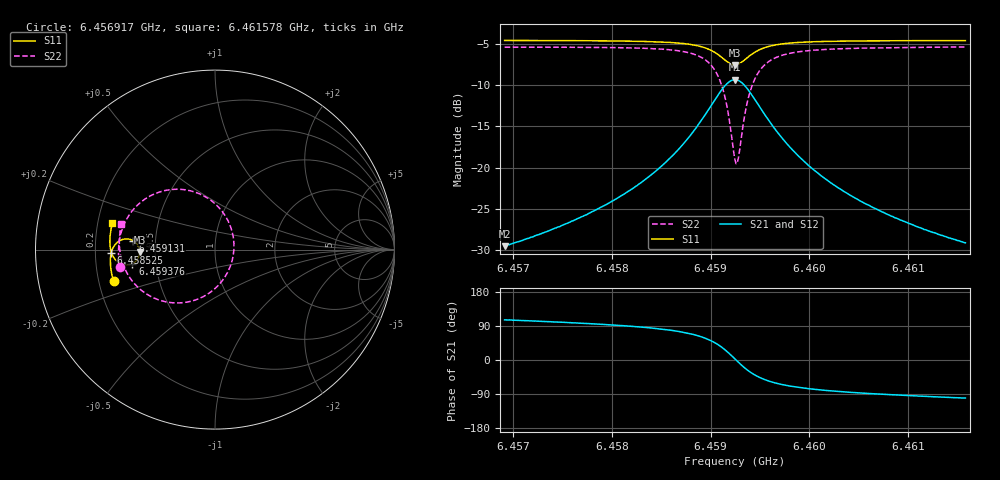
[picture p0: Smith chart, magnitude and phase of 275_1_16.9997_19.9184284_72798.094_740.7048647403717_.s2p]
#  HZ  S  RI  R  50.00
! Rohde & Schwarz Vector Network Analyzer
! Rohde-Schwarz,ZNB20-2Port,1311601062101988,3.16
! Created: UTC 3/20/2024, 11:04:20 PM
! freq[Hz]  re:S11  im:S11  re:S21  im:S21  re:S12  im:S12  re:S22  im:S22
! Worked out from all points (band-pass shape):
!   401 points, 6.456917 GHz to 6.461578 GHz, reference 50 ohm
!   highest |S21| = -9.32 dB at 6.459248 GHz (marker M1); lowest = -29.6 dB at 6.456917 GHz (marker M2)
!   |S21| within 3 dB of the highest: 6.459014 GHz to 6.45948 GHz (465.7 kHz wide, 0.00721 % of centre)
!   lowest |S11| = -7.5 dB at 6.459248 GHz (marker M3), VSWR 2.45, Z = 20.4 - j0.628 ohm
!   |S11| at or under -10 dB: nowhere
!   |S22| runs from -19.6 to -5.3 dB; largest |S21 - S12| = 0.013
!   S11 on the Smith chart (normalised r, x): 6.456917 GHz: 0.26, -0.14; 6.458525 GHz: 0.27, -0.02; 6.459131 GHz: 0.37, +0.05; 6.459376 GHz: 0.37, -0.07; 6.461578 GHz: 0.26, +0.12
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6.4569173e9  -0.5649 -0.1774  -0.00912 0.032  -0.00752 0.0321  -0.5309 -0.0944
6.4576979e9  -0.5798 -0.1094  -0.00605 0.0499  -0.00353 0.0493  -0.5377 -0.00369
6.458129e9  -0.5831 -0.0666  -0.000397 0.0692  0.00301 0.0679  -0.5306 0.0639
6.4584786e9  -0.5798 -0.0251  0.0131 0.0979  0.0171 0.0953  -0.5062 0.142
6.4585252e9  -0.5783 -0.0188  0.0165 0.1034  0.0205 0.1004  -0.5 0.1552
6.4587349e9  -0.5664 0.0131  0.0422 0.135  0.0464 0.1303  -0.452 0.2269
6.4588864e9  -0.5454 0.0395  0.0844 0.1653  0.0878 0.1588  -0.3742 0.2914
6.4590378e9  -0.4995 0.0594  0.1756 0.1845  0.1768 0.1773  -0.2076 0.3363
6.459131e9  -0.4554 0.0495  0.2649 0.1542  0.2653 0.1481  -0.042 0.2873
6.4591776e9  -0.4344 0.0309  0.3083 0.1116  0.3097 0.1063  0.0405 0.2121
6.4592476e9  -0.4198 -0.0127  0.3416 0.0158  0.3453 0.00896  0.1056 0.0342
6.4592592e9  -0.42 -0.0207  0.3415 -0.00178  0.3453 -0.0093  0.1053 0.000848
6.4592825e9  -0.4236 -0.036  0.3363 -0.0362  0.34 -0.0452  0.0947 -0.0643
6.4593291e9  -0.4389 -0.0618  0.308 -0.0954  0.3103 -0.1072  0.0382 -0.1763
6.4593757e9  -0.4606 -0.0779  0.2668 -0.1362  0.266 -0.1494  -0.0456 -0.2509
6.4594689e9  -0.5036 -0.0845  0.1832 -0.1674  0.177 -0.1789  -0.2124 -0.2972
6.4596204e9  -0.547 -0.0642  0.0961 -0.1542  0.0878 -0.1604  -0.3783 -0.2493
6.4597835e9  -0.5683 -0.0366  0.0516 -0.1271  0.0441 -0.1298  -0.4584 -0.1783
6.4600282e9  -0.5812 -0.00109  0.0227 -0.0959  0.0169 -0.0967  -0.5066 -0.0967
6.4603777e9  -0.5855 0.04  0.00661 -0.0696  0.00257 -0.0692  -0.5284 -0.0178
6.4608088e9  -0.5837 0.0832  -0.0011 -0.0513  -0.00395 -0.0505  -0.5331 0.0505
6.4615778e9  -0.5714 0.151  -0.00628 -0.0343  -0.00805 -0.0333  -0.522 0.1409
